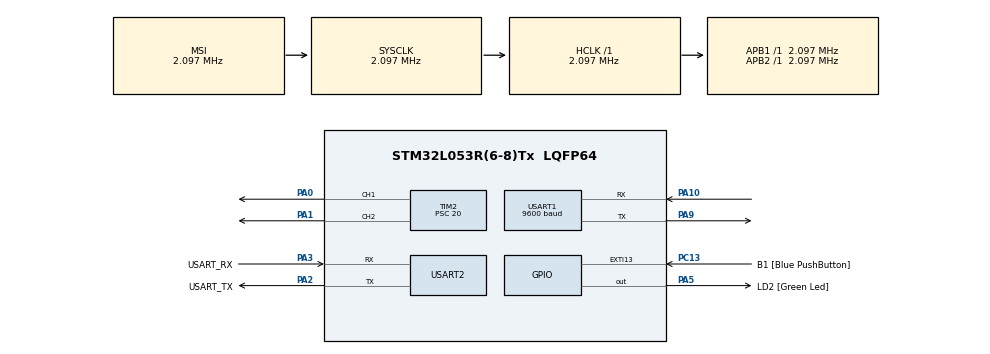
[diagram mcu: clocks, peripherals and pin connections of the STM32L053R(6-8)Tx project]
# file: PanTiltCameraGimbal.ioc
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Mcu.Family=STM32L0
Mcu.Name=STM32L053R(6-8)Tx
Mcu.Package=LQFP64
NVIC.USART1_IRQn=true\:0\:0\:false\:false\:true\:true\:true\:true
NVIC.USART2_IRQn=true\:0\:0\:false\:false\:true\:true\:true\:true
PA0.Signal=S_TIM2_CH1
PA1.Signal=S_TIM2_CH2
PA10.Mode=Asynchronous
PA10.Signal=USART1_RX
PA13.GPIO_Label=TMS
PA13.Mode=Serial_Wire
PA13.Signal=SYS_SWDIO
PA14.GPIO_Label=TCK
PA14.Mode=Serial_Wire
PA14.Signal=SYS_SWCLK
PA2.GPIO_Label=USART_TX
PA2.Mode=Asynchronous
PA2.Signal=USART2_TX
PA3.GPIO_Label=USART_RX
PA3.Mode=Asynchronous
PA3.Signal=USART2_RX
PA5.GPIO_Label=LD2 [Green Led]
PA5.Signal=GPIO_Output
PA9.Mode=Asynchronous
PA9.Signal=USART1_TX
PC13.GPIO_Label=B1 [Blue PushButton]
PC13.GPIO_ModeDefaultEXTI=GPIO_MODE_IT_FALLING
PC13.Signal=GPXTI13
PC14-OSC32_IN.Mode=LSE-External-Oscillator
PC14-OSC32_IN.Signal=RCC_OSC32_IN
PC15-OSC32_OUT.Mode=LSE-External-Oscillator
PC15-OSC32_OUT.Signal=RCC_OSC32_OUT
PH0-OSC_IN.Mode=HSE-External-Clock-Source
PH0-OSC_IN.Signal=RCC_OSC_IN
PH1-OSC_OUT.Signal=RCC_OSC_OUT
ProjectManager.HeapSize=0x200
ProjectManager.StackSize=0x400
ProjectManager.TargetToolchain=STM32CubeIDE
RCC.AHBFreq_Value=2097000
RCC.APB1Freq_Value=2097000
RCC.APB1TimFreq_Value=2097000
RCC.APB2Freq_Value=2097000
RCC.APB2TimFreq_Value=2097000
RCC.HSE_VALUE=8000000
RCC.HSI16_VALUE=16000000
RCC.HSI48_VALUE=48000000
RCC.HSI_VALUE=16000000
RCC.MSI_VALUE=2097000
RCC.SYSCLKFreq_VALUE=2097000
RCC.VCOOutputFreq_Value=48000000
SH.S_TIM2_CH1.0=TIM2_CH1,PWM Generation1 CH1
SH.S_TIM2_CH2.0=TIM2_CH2,PWM Generation2 CH2
TIM2.Channel-PWM\ Generation1\ CH1=TIM_CHANNEL_1
TIM2.Channel-PWM\ Generation2\ CH2=TIM_CHANNEL_2
TIM2.Period=1999
TIM2.Prescaler=20
USART1.BaudRate=9600
USART1.VirtualMode-Asynchronous=VM_ASYNC
USART2.VirtualMode-Asynchronous=VM_ASYNC
VP_TIM2_VS_ClockSourceINT.Mode=Internal
board=NUCLEO-L053R8

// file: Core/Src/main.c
/* USER CODE BEGIN Header */
/**
  ******************************************************************************
  * @file           : main.c
  * @brief          : Main program body â€“ Pan/Tilt with DEBUG LED feedback
  ******************************************************************************
  * LED FEEDBACK CODES:
  * - 3 quick blinks at startup = System initialized OK
  * - Slow blink = Running normally
  * - LED ON when USART2 receives data
  * - Fast blink = Error
  ******************************************************************************
  */
/* USER CODE END Header */

#include "main.h"
#include "gimbal.h"

#include <string.h>
#include <stdlib.h>
#include <stdio.h>

TIM_HandleTypeDef htim2;
UART_HandleTypeDef huart1;   // Bluetooth
UART_HandleTypeDef huart2;   // PC / YOLO

/* USER CODE BEGIN PV */

/* ---------- Shared gimbal state ---------- */
static float panAngle  = 90.0f;
static float tiltAngle = 90.0f;
static volatile float targetPan  = 90.0f;
static volatile float targetTilt = 90.0f;
static volatile uint8_t pc_cmd_pending = 0;
static volatile uint8_t bt_cmd_pending = 0;

/* Debug counters */
static uint32_t uart1_rx_count = 0;
static uint32_t uart2_rx_count = 0;
static uint32_t commands_processed = 0;

/* ---------- Helper: clamp servo angles ---------- */
static void ClampAngles(void)
{
    if (panAngle  < 0.0f)   panAngle  = 0.0f;
    if (panAngle  > 180.0f) panAngle  = 180.0f;
    if (tiltAngle < 0.0f)   tiltAngle = 0.0f;
    if (tiltAngle > 180.0f) tiltAngle = 180.0f;
}

/* =========================================================
 *                 BLUETOOTH (USART1, MicroBlue)
 * ========================================================= */

#define BT_ID_BUF_SIZE    16
#define BT_VAL_BUF_SIZE   16

static uint8_t bt_rx_byte;
static char    bt_idBuf[BT_ID_BUF_SIZE];
static char    bt_valBuf[BT_VAL_BUF_SIZE];
static uint8_t bt_idIndex  = 0;
static uint8_t bt_valIndex = 0;

typedef enum {
    BT_WAIT_SOH,
    BT_READ_ID,
    BT_READ_VALUE
} BT_ParseState_t;

static BT_ParseState_t btState = BT_WAIT_SOH;

#define PAN_STEP_DEG   3.0f
#define TILT_STEP_DEG  3.0f

static void BT_StartReceive(void)
{
    HAL_UART_Receive_IT(&huart1, &bt_rx_byte, 1);
}

static void BT_HandleFrame(const char *id, const char *value)
{
    if (strcmp(value, "1") != 0) {
        return;
    }

    if (strcmp(id, "DL") == 0) {
        panAngle -= PAN_STEP_DEG;
    } else if (strcmp(id, "DR") == 0) {
        panAngle += PAN_STEP_DEG;
    } else if (strcmp(id, "DU") == 0) {
        tiltAngle -= TILT_STEP_DEG;
    } else if (strcmp(id, "DD") == 0) {
        tiltAngle += TILT_STEP_DEG;
    } else if (strcmp(id, "DC") == 0) {
        panAngle  = 90.0f;
        tiltAngle = 90.0f;
    }

    ClampAngles();

    // store into targets and set flag â€“ main loop will move the servos
    targetPan  = panAngle;
    targetTilt = tiltAngle;
    bt_cmd_pending = 1;

    commands_processed++;
}

static void BT_ProcessByte(uint8_t byte)
{
    switch (btState)
    {
    case BT_WAIT_SOH:
        if (byte == 0x01) {
            bt_idIndex  = 0;
            bt_valIndex = 0;
            btState     = BT_READ_ID;
        }
        break;

    case BT_READ_ID:
        if (byte == 0x02) {
            if (bt_idIndex < BT_ID_BUF_SIZE)
                bt_idBuf[bt_idIndex] = '\0';
            btState = BT_READ_VALUE;
        } else {
            if (bt_idIndex < BT_ID_BUF_SIZE - 1) {
                bt_idBuf[bt_idIndex++] = (char)byte;
            }
        }
        break;

    case BT_READ_VALUE:
        if (byte == 0x03) {
            if (bt_valIndex < BT_VAL_BUF_SIZE)
                bt_valBuf[bt_valIndex] = '\0';

            BT_HandleFrame(bt_idBuf, bt_valBuf);
            btState = BT_WAIT_SOH;
        } else {
            if (bt_valIndex < BT_VAL_BUF_SIZE - 1) {
                bt_valBuf[bt_valIndex++] = (char)byte;
            }
        }
        break;

    default:
        btState = BT_WAIT_SOH;
        break;
    }
}

/* =========================================================
 *                PC / YOLO SERIAL (USART2)
 * ========================================================= */

#define PC_LINE_BUF_SIZE  32

static uint8_t pc_rx_byte;
static char    pc_line_buf[PC_LINE_BUF_SIZE];
static uint8_t pc_line_idx = 0;

static void PC_StartReceive(void)
{
    HAL_UART_Receive_IT(&huart2, &pc_rx_byte, 1);
}

static void PC_HandleLine(const char *line)
{
    int panInt = 0, tiltInt = 0;
    int count;

    // Try "PAN,TILT"
    count = sscanf(line, "%d,%d", &panInt, &tiltInt);

    // Also accept "PAN TILT" (space separated)
    if (count != 2)
    {
        count = sscanf(line, "%d %d", &panInt, &tiltInt);
    }

    // If only one number, treat it as pan only; keep tiltAngle as-is
    if (count == 1)
    {
        float p = (float)panInt;

        if (p < 0.0f)   p = 0.0f;
        if (p > 180.0f) p = 180.0f;

        targetPan  = p;
        targetTilt = tiltAngle;   // donâ€™t change tilt
        pc_cmd_pending = 1;
        commands_processed++;

        HAL_GPIO_WritePin(LD2_GPIO_Port, LD2_Pin, GPIO_PIN_SET);
        return;
    }

    // If we got both pan and tilt:
    if (count == 2)
    {
        float p = (float)panInt;
        float t = (float)tiltInt;

        if (p < 0.0f)   p = 0.0f;
        if (p > 180.0f) p = 180.0f;
        if (t < 0.0f)   t = 0.0f;
        if (t > 180.0f) t = 180.0f;

        targetPan  = p;
        targetTilt = t;
        pc_cmd_pending = 1;
        commands_processed++;

        HAL_GPIO_WritePin(LD2_GPIO_Port, LD2_Pin, GPIO_PIN_SET);
    }

    // If count == 0, do nothing (bad line)
}

static void PC_ProcessByte(uint8_t byte)
{
    if (byte == '\r' || byte == '\n')
    {
        if (pc_line_idx > 0)
        {
            pc_line_buf[pc_line_idx] = '\0';
            PC_HandleLine(pc_line_buf);
            pc_line_idx = 0;
        }
    }
    else
    {
        if (pc_line_idx < PC_LINE_BUF_SIZE - 1)
        {
            pc_line_buf[pc_line_idx++] = (char)byte;
        }
    }
}

/* USER CODE END PV */

void SystemClock_Config(void);
static void MX_GPIO_Init(void);
static void MX_TIM2_Init(void);
static void MX_USART1_UART_Init(void);
static void MX_USART2_UART_Init(void);
void Error_Handler(void);

/* USER CODE BEGIN 0 */

/* Global UART RX callback */
void HAL_UART_RxCpltCallback(UART_HandleTypeDef *huart)
{
    if (huart->Instance == USART1)
    {
        uart1_rx_count++;
        BT_ProcessByte(bt_rx_byte);
        BT_StartReceive();
    }
    else if (huart->Instance == USART2)
    {
        uart2_rx_count++;
        PC_ProcessByte(pc_rx_byte);
        PC_StartReceive();
    }
}

/* USER CODE END 0 */

int main(void)
{
  /* MCU Configuration */
  HAL_Init();
  SystemClock_Config();

  /* Initialize peripherals */
  MX_GPIO_Init();
  MX_TIM2_Init();
  MX_USART1_UART_Init();  // Bluetooth
  MX_USART2_UART_Init();  // PC/YOLO

  /* USER CODE BEGIN 2 */

  // Startup blink sequence - 3 quick blinks
  for (int i = 0; i < 3; i++)
  {
      HAL_GPIO_WritePin(LD2_GPIO_Port, LD2_Pin, GPIO_PIN_SET);
      HAL_Delay(200);
      HAL_GPIO_WritePin(LD2_GPIO_Port, LD2_Pin, GPIO_PIN_RESET);
      HAL_Delay(200);
  }

 HAL_Delay(500);
  // Initialize gimbal (servos)
  Gimbal_Init();
  Gimbal_Center();   // 90Â°, 90Â°

  HAL_Delay(500);

  // *** CRITICAL: Start UART interrupt reception ***
  HAL_UART_Receive_IT(&huart1, &bt_rx_byte, 1);
  HAL_UART_Receive_IT(&huart2, &pc_rx_byte, 1);

  // Send a test message via USART2 to confirm TX works
  char startup_msg[] = "STM32 Ready\r\n";
  HAL_UART_Transmit(&huart2, (uint8_t*)startup_msg, strlen(startup_msg), 100);

  /* USER CODE END 2 */

  // LED pattern to show which mode
  // 2 long blinks = waiting for commands
  for (int i = 0; i < 2; i++)
  {
      HAL_GPIO_WritePin(LD2_GPIO_Port, LD2_Pin, GPIO_PIN_SET);
      HAL_Delay(500);
      HAL_GPIO_WritePin(LD2_GPIO_Port, LD2_Pin, GPIO_PIN_RESET);
      HAL_Delay(500);
  }

  /* Infinite loop */
  uint32_t last_blink = 0;
  while (1)
  {
      // Slow heartbeat blink (every 1 second)
      if (HAL_GetTick() - last_blink > 1000)
      {
          HAL_GPIO_TogglePin(LD2_GPIO_Port, LD2_Pin);
          last_blink = HAL_GetTick();
      }

      // Apply any pending command from PC or BT
      if (pc_cmd_pending || bt_cmd_pending)
      {
          __disable_irq();
          pc_cmd_pending = 0;
          bt_cmd_pending = 0;
          float p = targetPan;
          float t = targetTilt;
          __enable_irq();

          panAngle  = p;
          tiltAngle = t;
          //ClampAngles();
          Gimbal_SetAngles(panAngle, tiltAngle);
      }

      // Optional: Send debug info every 5 seconds
      static uint32_t last_debug = 0;
      if (HAL_GetTick() - last_debug > 5000)
      {
          char debug[64];
          sprintf(debug, "U1:%lu U2:%lu CMD:%lu\r\n",
                  uart1_rx_count, uart2_rx_count, commands_processed);
          HAL_UART_Transmit(&huart2, (uint8_t*)debug, strlen(debug), 100);
          last_debug = HAL_GetTick();
      }

      HAL_Delay(10);
  }
}

/* ================== System Configuration ================== */

void SystemClock_Config(void)
{
  RCC_OscInitTypeDef RCC_OscInitStruct = {0};
  RCC_ClkInitTypeDef RCC_ClkInitStruct = {0};
  RCC_PeriphCLKInitTypeDef PeriphClkInit = {0};

  __HAL_PWR_VOLTAGESCALING_CONFIG(PWR_REGULATOR_VOLTAGE_SCALE1);

  RCC_OscInitStruct.OscillatorType = RCC_OSCILLATORTYPE_MSI;
  RCC_OscInitStruct.MSIState = RCC_MSI_ON;
  RCC_OscInitStruct.MSICalibrationValue = 0;
  RCC_OscInitStruct.MSIClockRange = RCC_MSIRANGE_5;
  RCC_OscInitStruct.PLL.PLLState = RCC_PLL_NONE;
  if (HAL_RCC_OscConfig(&RCC_OscInitStruct) != HAL_OK)
  {
    Error_Handler();
  }

  RCC_ClkInitStruct.ClockType = RCC_CLOCKTYPE_HCLK|RCC_CLOCKTYPE_SYSCLK
                              |RCC_CLOCKTYPE_PCLK1|RCC_CLOCKTYPE_PCLK2;
  RCC_ClkInitStruct.SYSCLKSource = RCC_SYSCLKSOURCE_MSI;
  RCC_ClkInitStruct.AHBCLKDivider = RCC_SYSCLK_DIV1;
  RCC_ClkInitStruct.APB1CLKDivider = RCC_HCLK_DIV1;
  RCC_ClkInitStruct.APB2CLKDivider = RCC_HCLK_DIV1;

  if (HAL_RCC_ClockConfig(&RCC_ClkInitStruct, FLASH_LATENCY_0) != HAL_OK)
  {
    Error_Handler();
  }

  PeriphClkInit.PeriphClockSelection = RCC_PERIPHCLK_USART1|RCC_PERIPHCLK_USART2;
  PeriphClkInit.Usart1ClockSelection = RCC_USART1CLKSOURCE_PCLK2;
  PeriphClkInit.Usart2ClockSelection = RCC_USART2CLKSOURCE_PCLK1;
  if (HAL_RCCEx_PeriphCLKConfig(&PeriphClkInit) != HAL_OK)
  {
    Error_Handler();
  }
}

static void MX_TIM2_Init(void)
{
  TIM_ClockConfigTypeDef sClockSourceConfig = {0};
  TIM_MasterConfigTypeDef sMasterConfig = {0};
  TIM_OC_InitTypeDef sConfigOC = {0};

  htim2.Instance = TIM2;
  htim2.Init.Prescaler = 20;    // FIXED
  htim2.Init.CounterMode = TIM_COUNTERMODE_UP;
  htim2.Init.Period = 1999;     // FIXED
  htim2.Init.ClockDivision = TIM_CLOCKDIVISION_DIV1;
  htim2.Init.AutoReloadPreload = TIM_AUTORELOAD_PRELOAD_DISABLE;

  if (HAL_TIM_Base_Init(&htim2) != HAL_OK)
  {
    Error_Handler();
  }

  sClockSourceConfig.ClockSource = TIM_CLOCKSOURCE_INTERNAL;
  if (HAL_TIM_ConfigClockSource(&htim2, &sClockSourceConfig) != HAL_OK)
  {
    Error_Handler();
  }

  if (HAL_TIM_PWM_Init(&htim2) != HAL_OK)
  {
    Error_Handler();
  }

  sMasterConfig.MasterOutputTrigger = TIM_TRGO_RESET;
  sMasterConfig.MasterSlaveMode = TIM_MASTERSLAVEMODE_DISABLE;
  if (HAL_TIMEx_MasterConfigSynchronization(&htim2, &sMasterConfig) != HAL_OK)
  {
    Error_Handler();
  }

  sConfigOC.OCMode = TIM_OCMODE_PWM1;
  sConfigOC.Pulse = 150;
  sConfigOC.OCPolarity = TIM_OCPOLARITY_HIGH;
  sConfigOC.OCFastMode = TIM_OCFAST_DISABLE;

  if (HAL_TIM_PWM_ConfigChannel(&htim2, &sConfigOC, TIM_CHANNEL_1) != HAL_OK)
  {
    Error_Handler();
  }

  if (HAL_TIM_PWM_ConfigChannel(&htim2, &sConfigOC, TIM_CHANNEL_2) != HAL_OK)
  {
    Error_Handler();
  }

  HAL_TIM_MspPostInit(&htim2);
}

static void MX_USART1_UART_Init(void)
{
  huart1.Instance = USART1;
  huart1.Init.BaudRate = 9600;  // Bluetooth
  huart1.Init.WordLength = UART_WORDLENGTH_8B;
  huart1.Init.StopBits = UART_STOPBITS_1;
  huart1.Init.Parity = UART_PARITY_NONE;
  huart1.Init.Mode = UART_MODE_TX_RX;
  huart1.Init.HwFlowCtl = UART_HWCONTROL_NONE;
  huart1.Init.OverSampling = UART_OVERSAMPLING_16;
  huart1.Init.OneBitSampling = UART_ONE_BIT_SAMPLE_DISABLE;
  huart1.AdvancedInit.AdvFeatureInit = UART_ADVFEATURE_NO_INIT;

  if (HAL_UART_Init(&huart1) != HAL_OK)
  {
    Error_Handler();
  }
}

static void MX_USART2_UART_Init(void)
{
  huart2.Instance = USART2;
  huart2.Init.BaudRate = 115200;  // PC/YOLO
  huart2.Init.WordLength = UART_WORDLENGTH_8B;
  huart2.Init.StopBits = UART_STOPBITS_1;
  huart2.Init.Parity = UART_PARITY_NONE;
  huart2.Init.Mode = UART_MODE_TX_RX;
  huart2.Init.HwFlowCtl = UART_HWCONTROL_NONE;
  huart2.Init.OverSampling = UART_OVERSAMPLING_16;
  huart2.Init.OneBitSampling = UART_ONE_BIT_SAMPLE_DISABLE;
  huart2.AdvancedInit.AdvFeatureInit = UART_ADVFEATURE_NO_INIT;

  if (HAL_UART_Init(&huart2) != HAL_OK)
  {
    Error_Handler();
  }
}

static void MX_GPIO_Init(void)
{
  GPIO_InitTypeDef GPIO_InitStruct = {0};

  __HAL_RCC_GPIOC_CLK_ENABLE();
  __HAL_RCC_GPIOH_CLK_ENABLE();
  __HAL_RCC_GPIOA_CLK_ENABLE();

  HAL_GPIO_WritePin(LD2_GPIO_Port, LD2_Pin, GPIO_PIN_RESET);

  GPIO_InitStruct.Pin = B1_Pin;
  GPIO_InitStruct.Mode = GPIO_MODE_IT_FALLING;
  GPIO_InitStruct.Pull = GPIO_NOPULL;
  HAL_GPIO_Init(B1_GPIO_Port, &GPIO_InitStruct);

  GPIO_InitStruct.Pin = LD2_Pin;
  GPIO_InitStruct.Mode = GPIO_MODE_OUTPUT_PP;
  GPIO_InitStruct.Pull = GPIO_NOPULL;
  GPIO_InitStruct.Speed = GPIO_SPEED_FREQ_LOW;
  HAL_GPIO_Init(LD2_GPIO_Port, &GPIO_InitStruct);
}

void Error_Handler(void)
{
  __disable_irq();
  while (1)
  {
    HAL_GPIO_TogglePin(LD2_GPIO_Port, LD2_Pin);
    for(volatile int i = 0; i < 100000; i++);
  }
}
